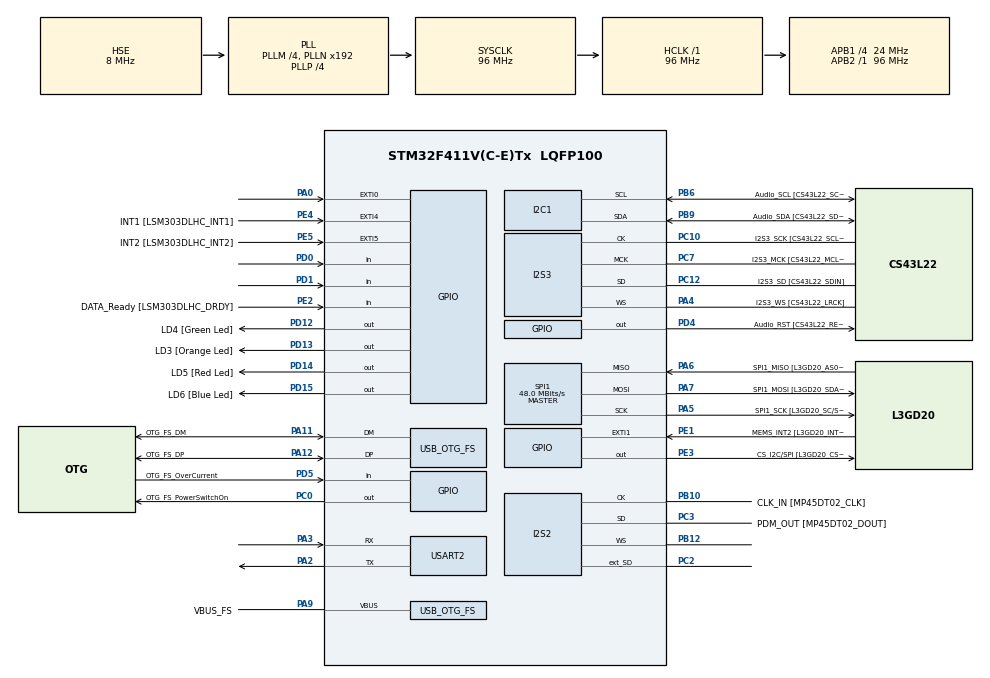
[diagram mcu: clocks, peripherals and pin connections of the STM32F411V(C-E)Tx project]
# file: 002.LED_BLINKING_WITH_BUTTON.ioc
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I2S2.AudioFreq=I2S_AUDIOFREQ_96K
I2S2.ErrorAudioFreq=0.15 %
I2S2.FullDuplexMode=I2S_FULLDUPLEXMODE_ENABLE
I2S2.Instance=SPI$Index
I2S2.RealAudioFreq=96.153 KHz
I2S2.VirtualMode=I2S_MODE_MASTER
I2S3.AudioFreq=I2S_AUDIOFREQ_96K
I2S3.ErrorAudioFreq=-6.99 %
I2S3.FullDuplexMode=I2S_FULLDUPLEXMODE_DISABLE
I2S3.Instance=SPI$Index
I2S3.RealAudioFreq=89.285 KHz
I2S3.VirtualMode=I2S_MODE_MASTER
Mcu.Family=STM32F4
Mcu.Name=STM32F411V(C-E)Tx
Mcu.Package=LQFP100
NVIC.OTG_FS_IRQn=true\:0\:0\:false\:false\:true\:true\:true\:true
NVIC.PriorityGroup=NVIC_PRIORITYGROUP_0
NVIC.USART2_IRQn=true\:0\:0\:false\:false\:true\:true\:true\:true
PA0-WKUP.GPIO_ModeDefaultEXTI=GPIO_MODE_EVT_RISING
PA0-WKUP.Signal=GPXTI0
PA11.GPIO_Label=OTG_FS_DM
PA11.Mode=Host_Only
PA11.Signal=USB_OTG_FS_DM
PA12.GPIO_Label=OTG_FS_DP
PA12.Mode=Host_Only
PA12.Signal=USB_OTG_FS_DP
PA13.GPIO_Label=SWDIO
PA13.Mode=Serial_Wire
PA13.Signal=SYS_JTMS-SWDIO
PA14.GPIO_Label=SWCLK
PA14.Mode=Serial_Wire
PA14.Signal=SYS_JTCK-SWCLK
PA2.Mode=Asynchronous
PA2.Signal=USART2_TX
PA3.Mode=Asynchronous
PA3.Signal=USART2_RX
PA4.GPIO_Label=I2S3_WS [CS43L22_LRCK]
PA4.GPIO_Mode=GPIO_MODE_AF_PP
PA4.GPIO_PuPd=GPIO_NOPULL
PA4.GPIO_Speed=GPIO_SPEED_FREQ_LOW
PA4.Mode=Half_Duplex_Master
PA4.Signal=I2S3_WS
PA5.GPIO_Label=SPI1_SCK [L3GD20_SC/SPC]
PA5.Mode=Full_Duplex_Master
PA5.Signal=SPI1_SCK
PA6.GPIO_Label=SPI1_MISO [L3GD20_AS0/SDO]
PA6.Mode=Full_Duplex_Master
PA6.Signal=SPI1_MISO
PA7.GPIO_Label=SPI1_MOSI [L3GD20_SDA/SDI/SDO]
PA7.Mode=Full_Duplex_Master
PA7.Signal=SPI1_MOSI
PA9.GPIO_Label=VBUS_FS
PA9.Mode=Activate_VBUS
PA9.Signal=USB_OTG_FS_VBUS
PB10.GPIO_Label=CLK_IN [MP45DT02_CLK]
PB10.Mode=Full_Duplex_Master
PB10.Signal=I2S2_CK
PB12.Mode=Full_Duplex_Master
PB12.Signal=I2S2_WS
PB3.GPIO_Label=SWO
PB3.Signal=SYS_JTDO-SWO
PB6.GPIO_Label=Audio_SCL [CS43L22_SCL]
PB6.GPIO_Mode=GPIO_MODE_AF_OD
PB6.GPIO_Pu=GPIO_PULLUP
PB6.GPIO_PuPd=GPIO_NOPULL
PB6.GPIO_Speed=GPIO_SPEED_FREQ_LOW
PB6.Mode=I2C
PB6.Signal=I2C1_SCL
PB9.GPIO_Label=Audio_SDA [CS43L22_SDA]
PB9.GPIO_Mode=GPIO_MODE_AF_OD
PB9.GPIO_Pu=GPIO_PULLUP
PB9.GPIO_PuPd=GPIO_NOPULL
PB9.GPIO_Speed=GPIO_SPEED_FREQ_LOW
PB9.Mode=I2C
PB9.Signal=I2C1_SDA
PC0.GPIO_Label=OTG_FS_PowerSwitchOn
PC0.PinState=GPIO_PIN_SET
PC0.Signal=GPIO_Output
PC10.GPIO_Label=I2S3_SCK [CS43L22_SCLK]
PC10.GPIO_Mode=GPIO_MODE_AF_PP
PC10.GPIO_PuPd=GPIO_NOPULL
PC10.GPIO_Speed=GPIO_SPEED_FREQ_LOW
PC10.Mode=Half_Duplex_Master
PC10.Signal=I2S3_CK
PC12.GPIO_Label=I2S3_SD [CS43L22_SDIN]
PC12.GPIO_Mode=GPIO_MODE_AF_PP
PC12.GPIO_PuPd=GPIO_NOPULL
PC12.GPIO_Speed=GPIO_SPEED_FREQ_LOW
PC12.Mode=Half_Duplex_Master
PC12.Signal=I2S3_SD
PC14-OSC32_IN.GPIO_Label=PC14-OSC32_IN
PC14-OSC32_IN.Mode=LSE-External-Oscillator
PC14-OSC32_IN.Signal=RCC_OSC32_IN
PC15-OSC32_OUT.GPIO_Label=PC15-OSC32_OUT
PC15-OSC32_OUT.Mode=LSE-External-Oscillator
PC15-OSC32_OUT.Signal=RCC_OSC32_OUT
PC2.Mode=Full_Duplex_Master
PC2.Signal=I2S2_ext_SD
PC3.GPIO_Label=PDM_OUT [MP45DT02_DOUT]
PC3.Mode=Full_Duplex_Master
PC3.Signal=I2S2_SD
PC7.GPIO_Label=I2S3_MCK [CS43L22_MCLK]
PC7.GPIO_Mode=GPIO_MODE_AF_PP
PC7.GPIO_PuPd=GPIO_NOPULL
PC7.GPIO_Speed=GPIO_SPEED_FREQ_LOW
PC7.Mode=Master_Clock_Activated
PC7.Signal=I2S3_MCK
PD0.GPIO_PuPd=GPIO_PULLUP
PD0.Signal=GPIO_Input
PD1.GPIO_PuPd=GPIO_PULLUP
PD1.Signal=GPIO_Input
PD12.GPIO_Label=LD4 [Green Led]
PD12.GPIO_PuPd=GPIO_NOPULL
PD12.GPIO_Speed=GPIO_SPEED_FREQ_LOW
PD12.Signal=GPIO_Output
PD13.GPIO_Label=LD3 [Orange Led]
PD13.GPIO_PuPd=GPIO_NOPULL
PD13.GPIO_Speed=GPIO_SPEED_FREQ_LOW
PD13.Signal=GPIO_Output
PD14.GPIO_Label=LD5 [Red Led]
PD14.GPIO_PuPd=GPIO_NOPULL
PD14.GPIO_Speed=GPIO_SPEED_FREQ_LOW
PD14.Signal=GPIO_Output
PD15.GPIO_Label=LD6 [Blue Led]
PD15.GPIO_PuPd=GPIO_NOPULL
PD15.GPIO_Speed=GPIO_SPEED_FREQ_LOW
PD15.Signal=GPIO_Output
PD4.GPIO_Label=Audio_RST [CS43L22_RESET]
PD4.Signal=GPIO_Output
PD5.GPIO_Label=OTG_FS_OverCurrent
PD5.Signal=GPIO_Input
PE1.GPIO_Label=MEMS_INT2 [L3GD20_INT2]
PE1.GPIO_ModeDefaultEXTI=GPIO_MODE_EVT_RISING
PE1.Signal=GPXTI1
PE2.GPIO_Label=DATA_Ready [LSM303DLHC_DRDY]
PE2.Signal=GPIO_Input
PE3.GPIO_Label=CS_I2C/SPI [L3GD20_CS_I2C/SPI]
PE3.Signal=GPIO_Output
PE4.GPIO_Label=INT1 [LSM303DLHC_INT1]
PE4.GPIO_ModeDefaultEXTI=GPIO_MODE_EVT_RISING
PE4.Signal=GPXTI4
PE5.GPIO_Label=INT2 [LSM303DLHC_INT2]
PE5.GPIO_ModeDefaultEXTI=GPIO_MODE_EVT_RISING
PE5.Signal=GPXTI5
PH0\ -\ OSC_IN.GPIO_Label=PH0-OSC_IN
PH0\ -\ OSC_IN.Mode=HSE-External-Oscillator
PH0\ -\ OSC_IN.Signal=RCC_OSC_IN
PH1\ -\ OSC_OUT.GPIO_Label=PH1-OSC_OUT
PH1\ -\ OSC_OUT.Mode=HSE-External-Oscillator
PH1\ -\ OSC_OUT.Signal=RCC_OSC_OUT
ProjectManager.HeapSize=0x200
ProjectManager.StackSize=0x400
ProjectManager.TargetToolchain=STM32CubeIDE
RCC.48MHZClocksFreq_Value=48000000
RCC.AHBFreq_Value=96000000
RCC.APB1CLKDivider=RCC_HCLK_DIV4
RCC.APB1Freq_Value=24000000
RCC.APB1TimFreq_Value=48000000
RCC.APB2Freq_Value=96000000
RCC.APB2TimFreq_Value=96000000
RCC.CortexFreq_Value=96000000
RCC.HCLKFreq_Value=96000000
RCC.HSE_VALUE=8000000
RCC.HSI_VALUE=16000000
RCC.PLLI2SM=5
RCC.PLLI2SN=200
RCC.PLLM=4
RCC.PLLP=RCC_PLLP_DIV4
RCC.PLLQ=8
RCC.SYSCLKFreq_VALUE=96000000
RCC.SYSCLKSource=RCC_SYSCLKSOURCE_PLLCLK
RCC.VCOOutputFreq_Value=384000000
SPI1.BaudRatePrescaler=SPI_BAUDRATEPRESCALER_2
SPI1.CalculateBaudRate=48.0 MBits/s
SPI1.Direction=SPI_DIRECTION_2LINES
SPI1.Mode=SPI_MODE_MASTER
SPI1.VirtualType=VM_MASTER
USART2.VirtualMode=VM_ASYNC
USB_HOST.BSP.number=1
USB_HOST.USBH_HandleTypeDef=hUsbHostFS
USB_HOST.VirtualModeFS=Cdc
USB_HOST0.BSP.STBoard=false
USB_HOST0.BSP.api=Unknown
USB_HOST0.BSP.instance=PC0
USB_HOST0.BSP.ip=GPIO
USB_HOST0.BSP.mode=Output
USB_HOST0.BSP.name=Drive_VBUS_FS
USB_HOST0.BSP.solution=PC0
USB_OTG_FS.VirtualMode=Host_Only
USB_OTG_FS.phy_itface=HCD_PHY_EMBEDDED
VP_USB_HOST_VS_USB_HOST_CDC_FS.Mode=CDC_FS
board=STM32F411E-DISCO

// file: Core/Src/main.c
/* USER CODE BEGIN Header */
/**
  ******************************************************************************
  * @file           : main.c
  * @brief          : Main program body
  ******************************************************************************
  * @attention
  *
  * Copyright (c) 2025 STMicroelectronics.
  * All rights reserved.
  *
  * This software is licensed under terms that can be found in the LICENSE file
  * in the root directory of this software component.
  * If no LICENSE file comes with this software, it is provided AS-IS.
  *
  ******************************************************************************
  */
/* USER CODE END Header */
#include "main.h"
#include "usb_host.h"

/* USER CODE BEGIN Includes */
	uint8_t rxBuffer[10];
/* USER CODE END Includes */

I2C_HandleTypeDef hi2c1;

I2S_HandleTypeDef hi2s2;
I2S_HandleTypeDef hi2s3;

SPI_HandleTypeDef hspi1;

UART_HandleTypeDef huart2;

void SystemClock_Config(void);
void PeriphCommonClock_Config(void);
static void MX_GPIO_Init(void);
static void MX_I2C1_Init(void);
static void MX_I2S2_Init(void);
static void MX_I2S3_Init(void);
static void MX_SPI1_Init(void);
static void MX_USART2_UART_Init(void);
void MX_USB_HOST_Process(void);

int main(void)
{

  /* USER CODE BEGIN 1 */
	HAL_UART_Receive_IT(&huart2, rxBuffer, sizeof(rxBuffer));

  /* USER CODE END 1 */

  /* MCU Configuration--------------------------------------------------------*/

  /* Reset of all peripherals, Initializes the Flash interface and the Systick. */
  HAL_Init();

  /* Configure the system clock */
  SystemClock_Config();

  /* Configure the peripherals common clocks */
  PeriphCommonClock_Config();

  /* Initialize all configured peripherals */
  MX_GPIO_Init();
  MX_I2C1_Init();
  MX_I2S2_Init();
  MX_I2S3_Init();
  MX_SPI1_Init();
  MX_USB_HOST_Init();
  MX_USART2_UART_Init();

  /* Infinite loop */
  /* USER CODE BEGIN WHILE */
  while (1)
  {
      MX_USB_HOST_Process();

      if (HAL_GPIO_ReadPin(GPIOD, GPIO_PIN_1) == GPIO_PIN_RESET) // PD1: LED Aç
      {
          HAL_GPIO_WritePin(GPIOD, GPIO_PIN_14, GPIO_PIN_SET); // LED yanar

          const char* mesaj = "1\r\n";
          HAL_UART_Transmit(&huart2, (uint8_t*)mesaj, strlen(mesaj), HAL_MAX_DELAY);

          HAL_Delay(300);
          while (HAL_GPIO_ReadPin(GPIOD, GPIO_PIN_1) == GPIO_PIN_RESET);
      }

      if (HAL_GPIO_ReadPin(GPIOD, GPIO_PIN_0) == GPIO_PIN_RESET) // PD0: LED Kapat
      {
          HAL_GPIO_WritePin(GPIOD, GPIO_PIN_14, GPIO_PIN_RESET); // LED söner

          const char* mesaj = "2\r\n";
          HAL_UART_Transmit(&huart2, (uint8_t*)mesaj, strlen(mesaj), HAL_MAX_DELAY);

          HAL_Delay(300);
          while (HAL_GPIO_ReadPin(GPIOD, GPIO_PIN_0) == GPIO_PIN_RESET);
      }

      HAL_Delay(10);
  }

  /* USER CODE END 3 */
}

void SystemClock_Config(void)
{
  RCC_OscInitTypeDef RCC_OscInitStruct = {0};
  RCC_ClkInitTypeDef RCC_ClkInitStruct = {0};

  /** Configure the main internal regulator output voltage
  */
  __HAL_RCC_PWR_CLK_ENABLE();
  __HAL_PWR_VOLTAGESCALING_CONFIG(PWR_REGULATOR_VOLTAGE_SCALE1);

  /** Initializes the RCC Oscillators according to the specified parameters
  * in the RCC_OscInitTypeDef structure.
  */
  RCC_OscInitStruct.OscillatorType = RCC_OSCILLATORTYPE_HSE;
  RCC_OscInitStruct.HSEState = RCC_HSE_ON;
  RCC_OscInitStruct.PLL.PLLState = RCC_PLL_ON;
  RCC_OscInitStruct.PLL.PLLSource = RCC_PLLSOURCE_HSE;
  RCC_OscInitStruct.PLL.PLLM = 4;
  RCC_OscInitStruct.PLL.PLLN = 192;
  RCC_OscInitStruct.PLL.PLLP = RCC_PLLP_DIV4;
  RCC_OscInitStruct.PLL.PLLQ = 8;
  if (HAL_RCC_OscConfig(&RCC_OscInitStruct) != HAL_OK)
  {
    Error_Handler();
  }

  /** Initializes the CPU, AHB and APB buses clocks
  */
  RCC_ClkInitStruct.ClockType = RCC_CLOCKTYPE_HCLK|RCC_CLOCKTYPE_SYSCLK
                              |RCC_CLOCKTYPE_PCLK1|RCC_CLOCKTYPE_PCLK2;
  RCC_ClkInitStruct.SYSCLKSource = RCC_SYSCLKSOURCE_PLLCLK;
  RCC_ClkInitStruct.AHBCLKDivider = RCC_SYSCLK_DIV1;
  RCC_ClkInitStruct.APB1CLKDivider = RCC_HCLK_DIV4;
  RCC_ClkInitStruct.APB2CLKDivider = RCC_HCLK_DIV1;

  if (HAL_RCC_ClockConfig(&RCC_ClkInitStruct, FLASH_LATENCY_3) != HAL_OK)
  {
    Error_Handler();
  }
}

void PeriphCommonClock_Config(void)
{
  RCC_PeriphCLKInitTypeDef PeriphClkInitStruct = {0};

  /** Initializes the peripherals clock
  */
  PeriphClkInitStruct.PeriphClockSelection = RCC_PERIPHCLK_I2S;
  PeriphClkInitStruct.PLLI2S.PLLI2SN = 200;
  PeriphClkInitStruct.PLLI2S.PLLI2SM = 5;
  PeriphClkInitStruct.PLLI2S.PLLI2SR = 2;
  if (HAL_RCCEx_PeriphCLKConfig(&PeriphClkInitStruct) != HAL_OK)
  {
    Error_Handler();
  }
}

static void MX_I2C1_Init(void)
{

  hi2c1.Instance = I2C1;
  hi2c1.Init.ClockSpeed = 100000;
  hi2c1.Init.DutyCycle = I2C_DUTYCYCLE_2;
  hi2c1.Init.OwnAddress1 = 0;
  hi2c1.Init.AddressingMode = I2C_ADDRESSINGMODE_7BIT;
  hi2c1.Init.DualAddressMode = I2C_DUALADDRESS_DISABLE;
  hi2c1.Init.OwnAddress2 = 0;
  hi2c1.Init.GeneralCallMode = I2C_GENERALCALL_DISABLE;
  hi2c1.Init.NoStretchMode = I2C_NOSTRETCH_DISABLE;
  if (HAL_I2C_Init(&hi2c1) != HAL_OK)
  {
    Error_Handler();
  }

}

static void MX_I2S2_Init(void)
{

  hi2s2.Instance = SPI2;
  hi2s2.Init.Mode = I2S_MODE_MASTER_TX;
  hi2s2.Init.Standard = I2S_STANDARD_PHILIPS;
  hi2s2.Init.DataFormat = I2S_DATAFORMAT_16B;
  hi2s2.Init.MCLKOutput = I2S_MCLKOUTPUT_DISABLE;
  hi2s2.Init.AudioFreq = I2S_AUDIOFREQ_96K;
  hi2s2.Init.CPOL = I2S_CPOL_LOW;
  hi2s2.Init.ClockSource = I2S_CLOCK_PLL;
  hi2s2.Init.FullDuplexMode = I2S_FULLDUPLEXMODE_ENABLE;
  if (HAL_I2S_Init(&hi2s2) != HAL_OK)
  {
    Error_Handler();
  }

}

static void MX_I2S3_Init(void)
{

  hi2s3.Instance = SPI3;
  hi2s3.Init.Mode = I2S_MODE_MASTER_TX;
  hi2s3.Init.Standard = I2S_STANDARD_PHILIPS;
  hi2s3.Init.DataFormat = I2S_DATAFORMAT_16B;
  hi2s3.Init.MCLKOutput = I2S_MCLKOUTPUT_ENABLE;
  hi2s3.Init.AudioFreq = I2S_AUDIOFREQ_96K;
  hi2s3.Init.CPOL = I2S_CPOL_LOW;
  hi2s3.Init.ClockSource = I2S_CLOCK_PLL;
  hi2s3.Init.FullDuplexMode = I2S_FULLDUPLEXMODE_DISABLE;
  if (HAL_I2S_Init(&hi2s3) != HAL_OK)
  {
    Error_Handler();
  }

}

static void MX_SPI1_Init(void)
{

  /* SPI1 parameter configuration*/
  hspi1.Instance = SPI1;
  hspi1.Init.Mode = SPI_MODE_MASTER;
  hspi1.Init.Direction = SPI_DIRECTION_2LINES;
  hspi1.Init.DataSize = SPI_DATASIZE_8BIT;
  hspi1.Init.CLKPolarity = SPI_POLARITY_LOW;
  hspi1.Init.CLKPhase = SPI_PHASE_1EDGE;
  hspi1.Init.NSS = SPI_NSS_SOFT;
  hspi1.Init.BaudRatePrescaler = SPI_BAUDRATEPRESCALER_2;
  hspi1.Init.FirstBit = SPI_FIRSTBIT_MSB;
  hspi1.Init.TIMode = SPI_TIMODE_DISABLE;
  hspi1.Init.CRCCalculation = SPI_CRCCALCULATION_DISABLE;
  hspi1.Init.CRCPolynomial = 10;
  if (HAL_SPI_Init(&hspi1) != HAL_OK)
  {
    Error_Handler();
  }

}

static void MX_USART2_UART_Init(void)
{

  huart2.Instance = USART2;
  huart2.Init.BaudRate = 115200;
  huart2.Init.WordLength = UART_WORDLENGTH_8B;
  huart2.Init.StopBits = UART_STOPBITS_1;
  huart2.Init.Parity = UART_PARITY_NONE;
  huart2.Init.Mode = UART_MODE_TX_RX;
  huart2.Init.HwFlowCtl = UART_HWCONTROL_NONE;
  huart2.Init.OverSampling = UART_OVERSAMPLING_16;
  if (HAL_UART_Init(&huart2) != HAL_OK)
  {
    Error_Handler();
  }

}

static void MX_GPIO_Init(void)
{
  GPIO_InitTypeDef GPIO_InitStruct = {0};
  /* USER CODE BEGIN MX_GPIO_Init_1 */
  GPIO_InitStruct.Pin = GPIO_PIN_14;
     GPIO_InitStruct.Mode = GPIO_MODE_OUTPUT_PP;
     GPIO_InitStruct.Pull = GPIO_NOPULL;
     GPIO_InitStruct.Speed = GPIO_SPEED_FREQ_LOW;
     HAL_GPIO_Init(GPIOD, &GPIO_InitStruct);
  /*Configure GPIO pin : PA1 */
     GPIO_InitStruct.Pin = GPIO_PIN_0 | GPIO_PIN_1;
        GPIO_InitStruct.Mode = GPIO_MODE_INPUT;
        GPIO_InitStruct.Pull = GPIO_PULLUP;
        HAL_GPIO_Init(GPIOD, &GPIO_InitStruct);

  /*Configure GPIO pin : PA0 */
  GPIO_InitStruct.Pin = GPIO_PIN_0;
  GPIO_InitStruct.Mode = GPIO_MODE_INPUT;
  GPIO_InitStruct.Pull = GPIO_PULLUP;  // << DEĞİŞTİRİLDİ
  HAL_GPIO_Init(GPIOD, &GPIO_InitStruct);

  /* USER CODE END MX_GPIO_Init_1 */

  /* GPIO Ports Clock Enable */
  __HAL_RCC_GPIOE_CLK_ENABLE();
  __HAL_RCC_GPIOC_CLK_ENABLE();
  __HAL_RCC_GPIOH_CLK_ENABLE();
  __HAL_RCC_GPIOA_CLK_ENABLE();
  __HAL_RCC_GPIOB_CLK_ENABLE();
  __HAL_RCC_GPIOD_CLK_ENABLE();

  /*Configure GPIO pin Output Level */
  HAL_GPIO_WritePin(CS_I2C_SPI_GPIO_Port, CS_I2C_SPI_Pin, GPIO_PIN_RESET);

  /*Configure GPIO pin Output Level */
  HAL_GPIO_WritePin(OTG_FS_PowerSwitchOn_GPIO_Port, OTG_FS_PowerSwitchOn_Pin, GPIO_PIN_SET);

  /*Configure GPIO pin Output Level */
  HAL_GPIO_WritePin(GPIOD, LD4_Pin|LD3_Pin|LD5_Pin|LD6_Pin
                          |Audio_RST_Pin, GPIO_PIN_RESET);

  /*Configure GPIO pin : DATA_Ready_Pin */
  GPIO_InitStruct.Pin = DATA_Ready_Pin;
  GPIO_InitStruct.Mode = GPIO_MODE_INPUT;
  GPIO_InitStruct.Pull = GPIO_NOPULL;
  HAL_GPIO_Init(DATA_Ready_GPIO_Port, &GPIO_InitStruct);

  /*Configure GPIO pin : CS_I2C_SPI_Pin */
  GPIO_InitStruct.Pin = CS_I2C_SPI_Pin;
  GPIO_InitStruct.Mode = GPIO_MODE_OUTPUT_PP;
  GPIO_InitStruct.Pull = GPIO_NOPULL;
  GPIO_InitStruct.Speed = GPIO_SPEED_FREQ_LOW;
  HAL_GPIO_Init(CS_I2C_SPI_GPIO_Port, &GPIO_InitStruct);

  /*Configure GPIO pins : INT1_Pin INT2_Pin MEMS_INT2_Pin */
  GPIO_InitStruct.Pin = INT1_Pin|INT2_Pin|MEMS_INT2_Pin;
  GPIO_InitStruct.Mode = GPIO_MODE_EVT_RISING;
  GPIO_InitStruct.Pull = GPIO_NOPULL;
  HAL_GPIO_Init(GPIOE, &GPIO_InitStruct);

  /*Configure GPIO pin : OTG_FS_PowerSwitchOn_Pin */
  GPIO_InitStruct.Pin = OTG_FS_PowerSwitchOn_Pin;
  GPIO_InitStruct.Mode = GPIO_MODE_OUTPUT_PP;
  GPIO_InitStruct.Pull = GPIO_NOPULL;
  GPIO_InitStruct.Speed = GPIO_SPEED_FREQ_LOW;
  HAL_GPIO_Init(OTG_FS_PowerSwitchOn_GPIO_Port, &GPIO_InitStruct);

  /*Configure GPIO pin : PA0 */
  GPIO_InitStruct.Pin = GPIO_PIN_0;
  GPIO_InitStruct.Mode = GPIO_MODE_EVT_RISING;
  GPIO_InitStruct.Pull = GPIO_NOPULL;
  HAL_GPIO_Init(GPIOA, &GPIO_InitStruct);

  /*Configure GPIO pins : LD4_Pin LD3_Pin LD5_Pin LD6_Pin
                           Audio_RST_Pin */
  GPIO_InitStruct.Pin = LD4_Pin|LD3_Pin|LD5_Pin|LD6_Pin
                          |Audio_RST_Pin;
  GPIO_InitStruct.Mode = GPIO_MODE_OUTPUT_PP;
  GPIO_InitStruct.Pull = GPIO_NOPULL;
  GPIO_InitStruct.Speed = GPIO_SPEED_FREQ_LOW;
  HAL_GPIO_Init(GPIOD, &GPIO_InitStruct);

  /*Configure GPIO pins : PD0 PD1 */
  GPIO_InitStruct.Pin = GPIO_PIN_0|GPIO_PIN_1;
  GPIO_InitStruct.Mode = GPIO_MODE_INPUT;
  GPIO_InitStruct.Pull = GPIO_PULLUP;
  HAL_GPIO_Init(GPIOD, &GPIO_InitStruct);

  /*Configure GPIO pin : OTG_FS_OverCurrent_Pin */
  GPIO_InitStruct.Pin = OTG_FS_OverCurrent_Pin;
  GPIO_InitStruct.Mode = GPIO_MODE_INPUT;
  GPIO_InitStruct.Pull = GPIO_NOPULL;
  HAL_GPIO_Init(OTG_FS_OverCurrent_GPIO_Port, &GPIO_InitStruct);

}

/* USER CODE BEGIN 4 */
/*
void HAL_UART_RxCpltCallback(UART_HandleTypeDef *huart)
{
    if (huart->Instance == USART2) // Eğer UART2'den geldiyse
    {
        if (strncmp((char*)rxBuffer, "1", 1) == 0)
        {
            HAL_GPIO_WritePin(GPIOD, GPIO_PIN_14, GPIO_PIN_SET);
        }
        else if (strncmp((char*)rxBuffer, "0", 1) == 0)
        {
            HAL_GPIO_WritePin(GPIOD, GPIO_PIN_14, GPIO_PIN_RESET);
        }

        // Yeni veri alımını tekrar başlat
        HAL_UART_Receive_IT(&huart2, rxBuffer, sizeof(rxBuffer));
    }
}
*/
/* USER CODE END 4 */

void Error_Handler(void)
{
  __disable_irq();
  while (1)
  {
  }
}
